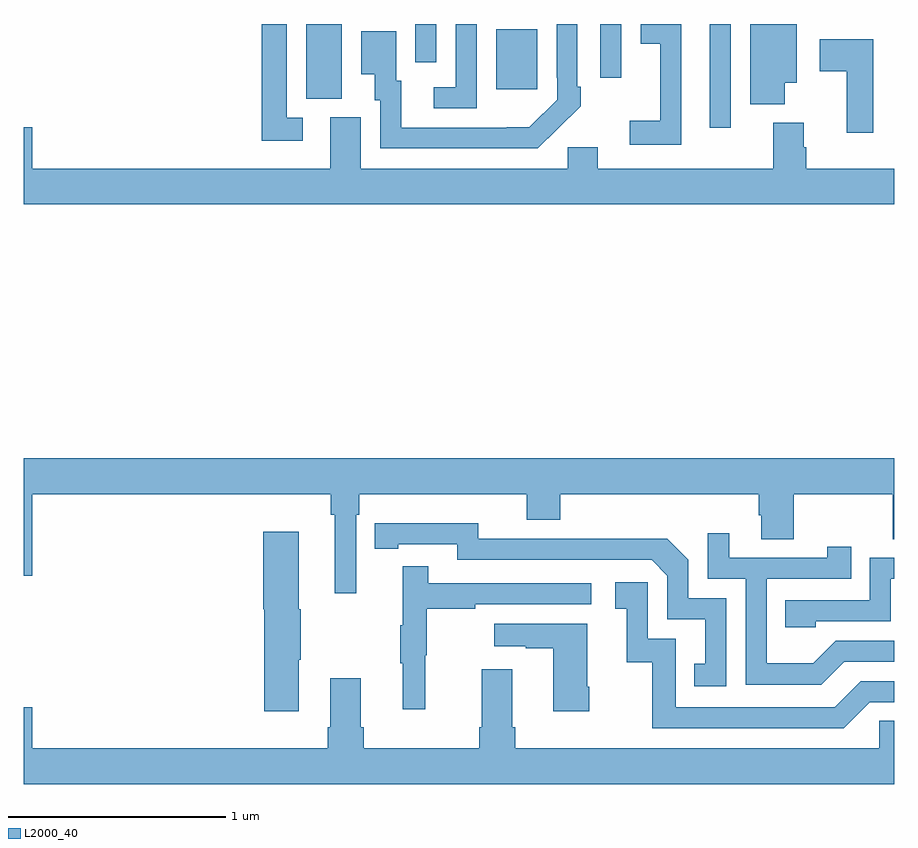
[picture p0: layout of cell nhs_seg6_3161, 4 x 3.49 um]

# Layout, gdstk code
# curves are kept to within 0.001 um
import gdstk
lib = gdstk.Library(unit=1e-6, precision=1e-09)
def R(c, l, rs):  # rectangles x0, y0, x1, y1
    for r in rs: c.add(gdstk.rectangle(r[:2], r[2:], *l))
def P(c, l, *ps):  # polygons
    for p in ps: c.add(gdstk.Polygon(p, *l))
L2000_40 = (2000, 40)

nhs_seg6_3161 = lib.new_cell('nhs_seg6_3161')
R(nhs_seg6_3161, L2000_40, [(300.152,945.024,300.249,945.5), (298.298,945.157,298.462,945.5), (299.171,945.201,299.359,945.475), (299.649,945.252,299.745,945.5), (298.8,945.324,298.896,945.5)])
P(nhs_seg6_3161, L2000_40, [(299.082,945.5),(298.986,945.5),(298.986,945.21),(298.884,945.21),(298.884,945.114),(299.082,945.114)],
  [(298.282,945.069),(298.209,945.069),(298.209,945.5),(298.093,945.5),(298.093,944.964),(298.282,944.964)],
  [(300.496,945.23),(300.553,945.23),(300.553,945.5),(300.338,945.5),(300.338,945.131),(300.496,945.131)],
  [(299.453,945.019),(299.454,945.018),(299.559,945.123),(299.559,945.211),(299.544,945.211),(299.544,945.5),(299.448,945.5),(299.448,945.253),(299.451,945.253),(299.451,945.153),(299.323,945.025),(298.735,945.024),(298.735,945.24),(298.711,945.24),(298.711,945.466),(298.55,945.466),(298.55,945.269),(298.613,945.269),(298.613,945.15),(298.638,945.15),(298.638,944.928),(299.362,944.928)],
  [(300.022,945.5),(299.834,945.5),(299.834,945.41),(299.924,945.41),(299.924,945.055),(299.784,945.055),(299.784,944.946),(300.022,944.946)],
  [(300.904,945.43),(300.657,945.43),(300.657,945.283),(300.782,945.283),(300.782,945),(300.904,945)],
  [(300.583,944.934),(300.583,945.046),(300.443,945.046),(300.443,944.836),(299.638,944.836),(299.638,944.934),(299.499,944.934),(299.499,944.836),(298.549,944.836),(298.549,945.072),(298.409,945.072),(298.409,944.836),(297.04,944.836),(297.04,945.025),(297,945.025),(297,944.672),(301,944.672),(301,944.836),(300.596,944.836),(300.596,944.934)],
  [(298.527,943.244),(298.541,943.244),(298.541,943.34),(299.312,943.34),(299.312,943.223),(299.465,943.223),(299.465,943.34),(300.377,943.34),(300.377,943.242),(300.389,943.242),(300.389,943.132),(300.537,943.132),(300.537,943.34),(300.994,943.34),(300.994,943.132),(301,943.132),(301,943.504),(297,943.504),(297,942.966),(297.04,942.966),(297.04,943.34),(298.411,943.34),(298.411,943.244),(298.43,943.244),(298.43,942.885),(298.527,942.885)],
  [(300.228,942.861),(300.054,942.861),(300.054,943.038),(299.956,943.136),(299.548,943.136),(299.548,943.134),(299.088,943.134),(299.088,943.207),(298.612,943.206),(298.612,943.09),(298.72,943.09),(298.72,943.11),(298.992,943.11),(298.992,943.038),(299.886,943.038),(299.958,942.966),(299.958,942.765),(300.131,942.765),(300.131,942.561),(300.082,942.561),(300.082,942.456),(300.228,942.456)],
  [(298.264,942.58),(298.272,942.58),(298.272,942.81),(298.264,942.81),(298.264,943.168),(298.1,943.168),(298.1,942.81),(298.106,942.81),(298.106,942.342),(298.264,942.342)],
  [(300.769,942.57),(301,942.57),(301,942.666),(300.732,942.666),(300.628,942.562),(300.414,942.562),(300.414,942.951),(300.803,942.951),(300.803,943.099),(300.692,943.099),(300.692,943.047),(300.241,943.047),(300.241,943.159),(300.144,943.159),(300.144,942.951),(300.318,942.951),(300.318,942.465),(300.664,942.465)],
  [(300.639,942.756),(300.984,942.756),(300.984,942.951),(301,942.951),(301,943.047),(300.888,943.047),(300.888,942.852),(300.499,942.852),(300.499,942.729),(300.639,942.729)],
  [(298.844,942.6),(298.852,942.6),(298.852,942.814),(299.075,942.814),(299.075,942.834),(299.608,942.834),(299.608,942.93),(298.859,942.93),(298.859,943.009),(298.742,943.009),(298.742,942.737),(298.731,942.737),(298.731,942.563),(298.742,942.563),(298.742,942.351),(298.844,942.351)],
  [(300.888,942.384),(301,942.384),(301,942.48),(300.846,942.48),(300.726,942.36),(299.997,942.36),(299.997,942.675),(299.868,942.675),(299.868,942.934),(299.718,942.934),(299.718,942.813),(299.771,942.813),(299.771,942.567),(299.889,942.567),(299.889,942.264),(300.768,942.264)],
  [(299.598,942.454),(299.59,942.454),(299.59,942.745),(299.163,942.745),(299.163,942.641),(299.306,942.641),(299.306,942.631),(299.432,942.631),(299.432,942.342),(299.598,942.342)],
  [(301,942.299),(300.93,942.299),(300.93,942.172),(299.258,942.172),(299.258,942.268),(299.245,942.268),(299.245,942.535),(299.105,942.535),(299.105,942.268),(299.093,942.268),(299.093,942.172),(298.562,942.172),(298.562,942.268),(298.549,942.268),(298.549,942.493),(298.409,942.493),(298.409,942.268),(298.397,942.268),(298.397,942.172),(297.04,942.172),(297.04,942.361),(297,942.361),(297,942.008),(301,942.008)])

lib.write_gds('nhs_seg6_3161.gds')
